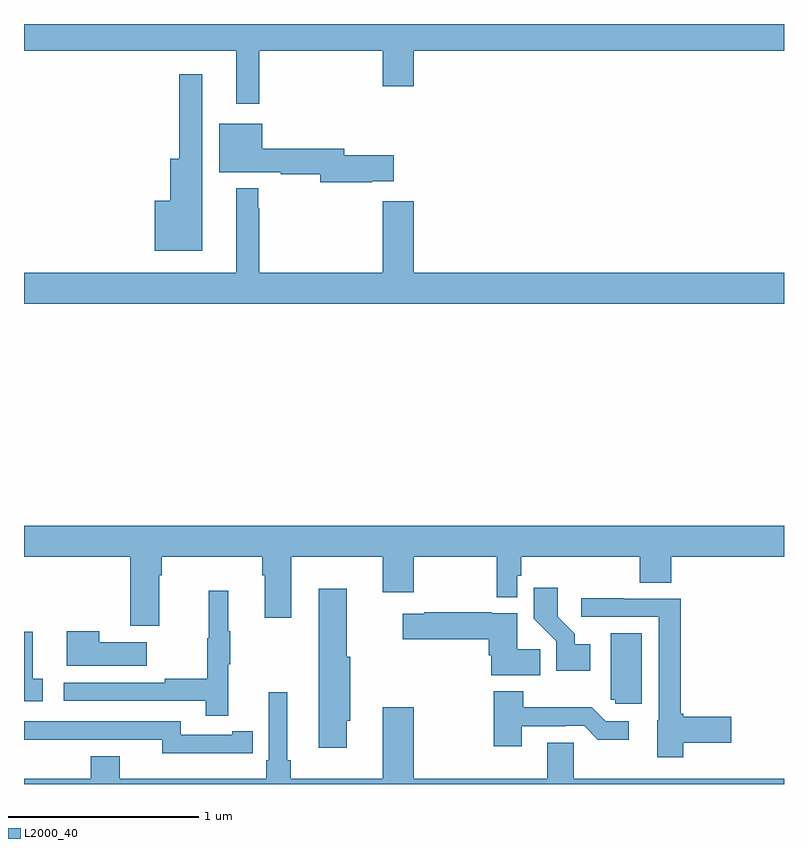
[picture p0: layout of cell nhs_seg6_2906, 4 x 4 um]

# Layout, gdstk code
import gdstk
lib = gdstk.Library(unit=1e-6, precision=1e-09)
def P(c, l, *ps):  # polygons
    for p in ps: c.add(gdstk.Polygon(p, *l))
L2000_40 = (2000, 40)

nhs_seg6_2906 = lib.new_cell('nhs_seg6_2906')
P(nhs_seg6_2906, L2000_40, [(284.239,923.36),(284.888,923.36),(284.888,923.172),(285.052,923.172),(285.052,923.36),(287,923.36),(287,923.5),(283,923.5),(283,923.36),(284.117,923.36),(284.117,923.079),(284.239,923.079)],
  [(283.939,923.236),(283.818,923.236),(283.818,922.792),(283.769,922.792),(283.769,922.57),(283.688,922.57),(283.688,922.307),(283.939,922.307)],
  [(284.834,922.673),(284.947,922.673),(284.947,922.808),(284.686,922.808),(284.686,922.844),(284.254,922.844),(284.254,922.975),(284.027,922.975),(284.027,922.721),(284.35,922.721),(284.35,922.708),(284.558,922.708),(284.558,922.666),(284.834,922.666)],
  [(287,922.192),(285.052,922.192),(285.052,922.567),(284.888,922.567),(284.888,922.192),(284.239,922.192),(284.239,922.529),(284.232,922.529),(284.232,922.636),(284.117,922.636),(284.117,922.192),(283,922.192),(283,922.028),(287,922.028)],
  [(283.711,920.6),(283.724,920.6),(283.724,920.696),(284.255,920.696),(284.255,920.6),(284.267,920.6),(284.267,920.376),(284.407,920.376),(284.407,920.696),(284.888,920.696),(284.888,920.508),(285.052,920.508),(285.052,920.696),(285.489,920.696),(285.489,920.483),(285.597,920.483),(285.597,920.595),(285.617,920.595),(285.617,920.696),(286.241,920.696),(286.241,920.56),(286.406,920.56),(286.406,920.696),(287,920.696),(287,920.86),(283,920.86),(283,920.696),(283.559,920.696),(283.559,920.334),(283.711,920.334)],
  [(285.979,920.236),(285.898,920.236),(285.898,920.291),(285.808,920.381),(285.808,920.533),(285.682,920.533),(285.682,920.37),(285.801,920.251),(285.801,920.096),(285.979,920.096)],
  [(284.698,919.833),(284.716,919.833),(284.716,920.169),(284.698,920.169),(284.698,920.527),(284.552,920.527),(284.552,919.692),(284.698,919.692)],
  [(284.075,920.131),(284.086,920.131),(284.086,920.305),(284.075,920.305),(284.075,920.518),(283.972,920.518),(283.972,920.268),(283.965,920.268),(283.965,920.054),(283.741,920.054),(283.741,920.034),(283.209,920.034),(283.209,919.938),(283.957,919.938),(283.957,919.86),(284.075,919.86)],
  [(286.47,919.718),(286.723,919.718),(286.723,919.853),(286.47,919.853),(286.47,919.871),(286.457,919.871),(286.457,920.475),(286.157,920.475),(286.157,920.478),(285.933,920.478),(285.933,920.379),(286.341,920.379),(286.341,919.836),(286.334,919.836),(286.334,919.64),(286.47,919.64)],
  [(285.716,920.21),(285.595,920.21),(285.595,920.398),(285.462,920.398),(285.462,920.403),(285.106,920.403),(285.106,920.395),(284.994,920.395),(284.994,920.261),(285.446,920.261),(285.446,920.177),(285.458,920.177),(285.458,920.072),(285.716,920.072)],
  [(283.645,920.245),(283.397,920.245),(283.397,920.305),(283.226,920.305),(283.226,920.123),(283.645,920.123)],
  [(283.099,920.055),(283.046,920.055),(283.046,920.302),(283,920.302),(283,919.935),(283.099,919.935)],
  [(286.252,920.293),(286.088,920.293),(286.088,919.944),(286.113,919.944),(286.113,919.923),(286.252,919.923)],
  [(285.619,919.803),(285.848,919.803),(285.848,919.806),(285.948,919.806),(286.021,919.733),(286.183,919.733),(286.183,919.83),(286.062,919.83),(285.989,919.903),(285.627,919.903),(285.627,919.987),(285.472,919.987),(285.472,919.698),(285.619,919.698)],
  [(287,919.528),(285.894,919.528),(285.894,919.718),(285.755,919.718),(285.755,919.528),(285.052,919.528),(285.052,919.903),(284.888,919.903),(284.888,919.528),(284.405,919.528),(284.405,919.624),(284.386,919.624),(284.386,919.984),(284.289,919.984),(284.289,919.624),(284.276,919.624),(284.276,919.528),(283.504,919.528),(283.504,919.645),(283.352,919.645),(283.352,919.528),(283,919.528),(283,919.5),(287,919.5)],
  [(284.096,919.662),(284.204,919.662),(284.204,919.778),(284.096,919.778),(284.096,919.758),(283.824,919.758),(283.824,919.83),(283,919.83),(283,919.733),(283.268,919.733),(283.268,919.734),(283.728,919.734),(283.728,919.661),(284.096,919.661)])

lib.write_gds('nhs_seg6_2906.gds')
